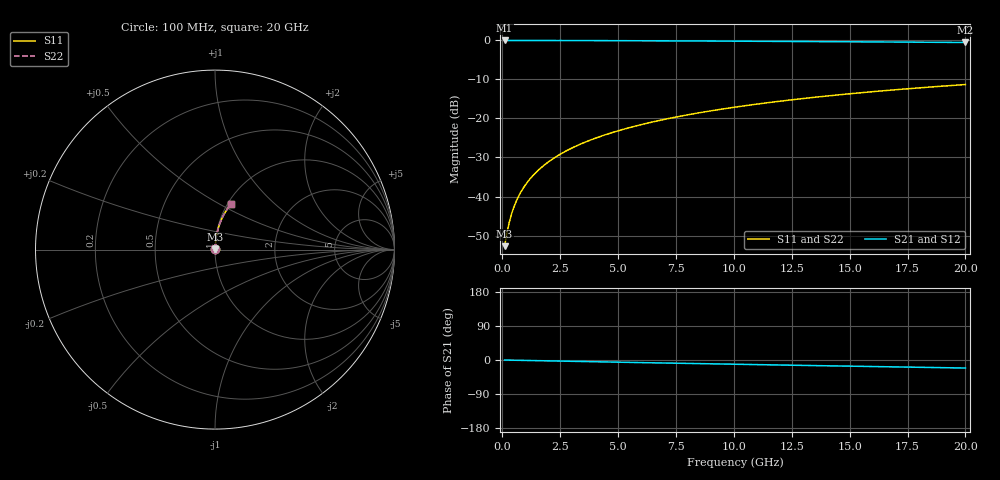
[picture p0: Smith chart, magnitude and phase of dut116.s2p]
! Touchstone file exported from HFSS 2024.1.0
!  File:  C:/UserFiles/LocalFiles/RDL_TSV_Batchsim/temp_RDL_bottom_116_1778695853.aedt
!  Generated:  02:13:40 AM May 14, 2026
!  Design:  RDL_bottom
!  Project:  temp_RDL_bottom_116_1778695853
!  Setup:  Setup1
!  Solution:  Sweep
! Variables:
!  dtsv = 10.80580581um
!  hbump = 3um
!  htsv = 74.89um
!  ldown = 236.63um
!  lrdl = 100um
!  p = 40
!  p1 = 48.72um
!  rhole = 1um
!  t = 450um
!  tdown = 4.14um
!  trdl = 3.915915916um
!  wdown = 11.93um
!  wrdl = 20um
# GHz S MA R 50.000000
! Terminal data exported
! Port[1] = RDL1_T1
! Port[2] = RDL1_T2
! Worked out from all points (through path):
!   200 points, 100 MHz to 20 GHz, reference 50 ohm
!   highest |S21| = -0.02 dB at 100 MHz (marker M1); lowest = -0.5 dB at 20 GHz (marker M2)
!   group delay of S21, straight-line fit = 2.94 ps
!   lowest |S11| = -52.7 dB at 100 MHz (marker M3), VSWR 1.00, Z = 50.2 + j0.144 ohm
!   |S11| at or under -10 dB: start of sweep to end of sweep
!   |S22| runs from -52.7 to -11.3 dB; largest |S21 - S12| = 2.2e-15
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0.1  0.002311 38.3  0.9982 -0.1  0.9982 -0.1  0.002311 38.3
! Gamma 0 0 0 0
! Port Impedance 50 0 50 0
0.2  0.003398 57.1  0.9982 -0.2  0.9982 -0.2  0.003398 57.1
0.3  0.004658 66.1  0.9981 -0.4  0.9981 -0.4  0.004658 66.1
0.4  0.005973 71.1  0.9981 -0.5  0.9981 -0.5  0.005973 71.1
0.5  0.00731 74.3  0.998 -0.6  0.998 -0.6  0.00731 74.3
0.6  0.008658 76.5  0.9979 -0.7  0.9979 -0.7  0.008658 76.5
0.8  0.01137 79.3  0.9978 -0.9  0.9978 -0.9  0.01137 79.3
1.1  0.01547 81.6  0.9977 -1.3  0.9977 -1.3  0.01547 81.6
1.5  0.02097 83.2  0.9974 -1.8  0.9974 -1.8  0.02097 83.2
1.8  0.02511 83.8  0.9971 -2.1  0.9971 -2.1  0.02511 83.8
2.1  0.02926 84.2  0.9968 -2.5  0.9968 -2.5  0.02926 84.2
2.7  0.03756 84.5  0.996 -3.1  0.996 -3.1  0.03756 84.5
3.5  0.04864 84.5  0.9948 -4.1  0.9948 -4.1  0.04864 84.5
4.2  0.05835 84.3  0.9935 -4.9  0.9935 -4.9  0.05835 84.3
5  0.06946 83.9  0.9918 -5.8  0.9918 -5.8  0.06946 83.9
5.9  0.08197 83.3  0.9897 -6.8  0.9897 -6.8  0.08197 83.3
6.8  0.09449 82.7  0.9874 -7.7  0.9874 -7.7  0.09449 82.7
8.3  0.1154 81.5  0.9831 -9.4  0.9831 -9.4  0.1154 81.5
10.1  0.1403 80.0  0.9775 -11.3  0.9775 -11.3  0.1403 80.0
13.4  0.1856 76.9  0.9663 -14.7  0.9663 -14.7  0.1856 76.9
16.7  0.2296 73.7  0.9538 -18.0  0.9538 -18.0  0.2296 73.7
20  0.2719 70.5  0.9403 -21.2  0.9403 -21.2  0.2719 70.5
